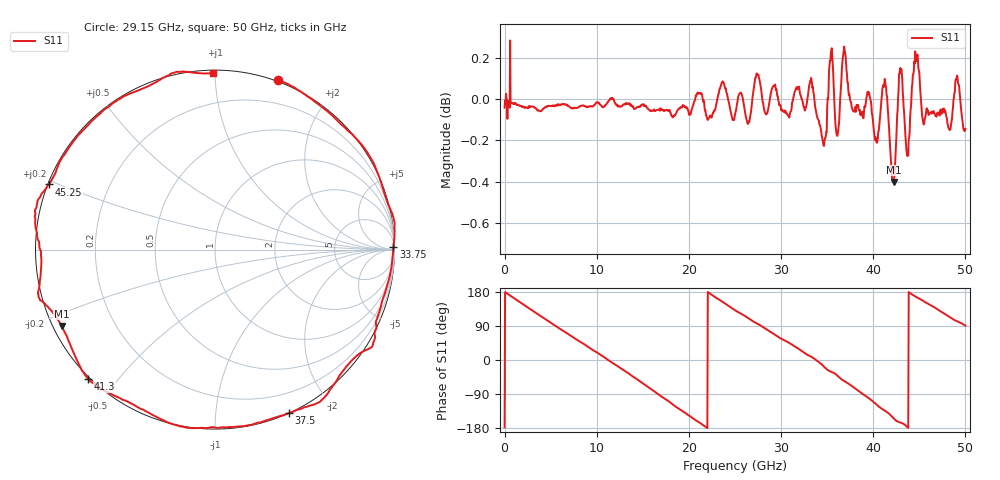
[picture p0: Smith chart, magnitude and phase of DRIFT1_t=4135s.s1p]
!Created with skrf (http://scikit-rf.org).
# Hz S RI R 50.0
!freq ReS11 ImS11
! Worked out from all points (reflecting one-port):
!   1001 points, 300 kHz to 50 GHz, reference 50 ohm
!   lowest |S11| = -0.4 dB at 42.2 GHz (marker M1), VSWR 43.20, Z = 1.22 - j11.8 ohm
!   phase of S11 starts at -178 deg and turns -812 deg over the sweep
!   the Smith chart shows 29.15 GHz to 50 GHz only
!   S11 on the Smith chart (normalised r, x): 29.15 GHz: -0.01, +1.44; 33.75 GHz: open; 37.5 GHz: 0.00, -1.55; 41.3 GHz: -0.01, -0.42; 45.25 GHz: 0.00, +0.19; 50 GHz: 0.02, +0.99
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300000  -0.9944 -0.0423
1.60029e9  -0.893 0.4427
3.40028e9  -0.5593 0.8226
6.250262e9  0.1968 0.9778
7.850253e9  0.5933 0.799
9.550243e9  0.8907 0.4461
1.115023e10  0.9977 0.0269
1.250022e10  0.9356 -0.3416
1.420021e10  0.665 -0.74
1.580021e10  0.2533 -0.9608
1.73002e10  -0.1867 -0.9759
1.875019e10  -0.5858 -0.8028
2.165017e10  -0.9918 -0.1131
2.345016e10  -0.9254 0.3979
2.500015e10  -0.6535 0.7455
2.730014e10  -0.1329 1.005
2.915013e10  0.3505 0.9444
3.125011e10  0.7714 0.6344
3.37501e10  0.9945 0.0136
3.555009e10  0.8672 -0.5465
3.750008e10  0.4118 -0.9105
3.945006e10  -0.1646 -0.9906
4.130005e10  -0.7069 -0.7209
4.220005e10  -0.8545 -0.4259
4.375004e10  -0.97 -0.0307
4.525003e10  -0.926 0.3631
4.770001e10  -0.5299 0.8395
5e10  -0.013 0.9835
